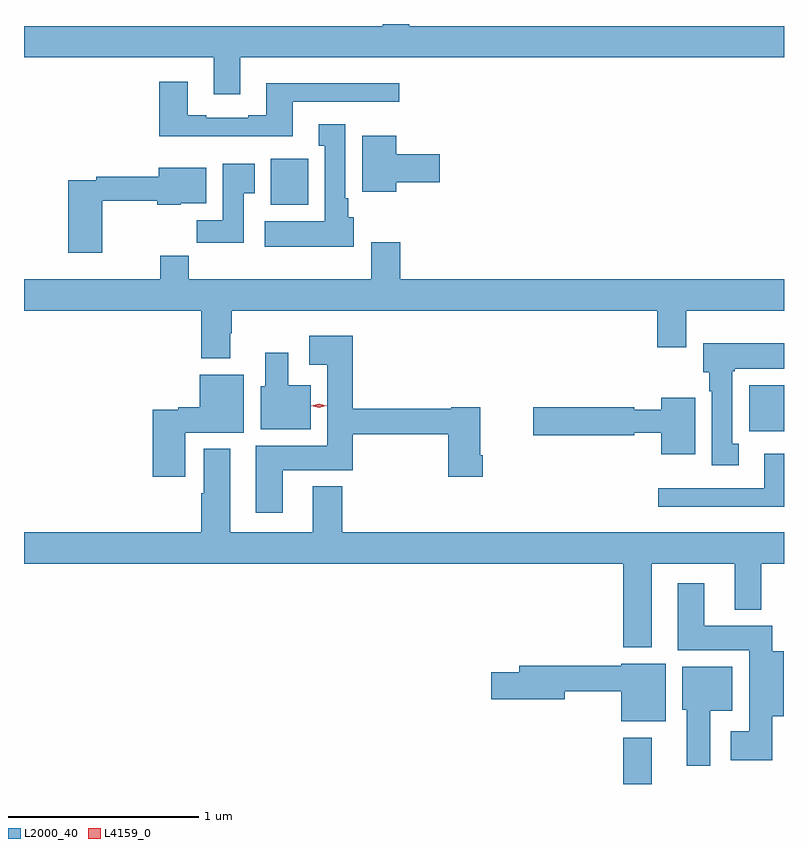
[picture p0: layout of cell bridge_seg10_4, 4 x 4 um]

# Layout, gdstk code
import gdstk
lib = gdstk.Library(unit=1e-6, precision=1e-09)
def R(c, l, rs):  # rectangles x0, y0, x1, y1
    for r in rs: c.add(gdstk.rectangle(r[:2], r[2:], *l))
def P(c, l, *ps):  # polygons
    for p in ps: c.add(gdstk.Polygon(p, *l))
L2000_40 = (2000, 40)
L4159_0 = (4159, 0)

bridge_seg10_4 = lib.new_cell('bridge_seg10_4')
R(bridge_seg10_4, L2000_40, [(1073.345,1248.54,1073.497,1248.784), (1074.008,1250.396,1074.192,1250.638), (1071.491,1251.59,1071.688,1251.832)])
P(bridge_seg10_4, L2000_40, [(1071.331,1252.364),(1074.192,1252.364),(1074.192,1252.528),(1072.219,1252.528),(1072.219,1252.54),(1072.079,1252.54),(1072.079,1252.528),(1070.192,1252.528),(1070.192,1252.364),(1071.191,1252.364),(1071.191,1252.17),(1071.331,1252.17)],
  [(1071.607,1252.131),(1072.168,1252.131),(1072.168,1252.228),(1071.467,1252.228),(1071.467,1252.06),(1071.371,1252.06),(1071.371,1252.047),(1071.151,1252.047),(1071.151,1252.06),(1071.055,1252.06),(1071.055,1252.237),(1070.903,1252.237),(1070.903,1251.95),(1071.607,1251.95)],
  [(1071.928,1251.522),(1071.898,1251.522),(1071.898,1251.622),(1071.883,1251.622),(1071.883,1252.012),(1071.743,1252.012),(1071.743,1251.899),(1071.776,1251.899),(1071.776,1251.502),(1071.459,1251.502),(1071.459,1251.368),(1071.928,1251.368)],
  [(1072.15,1251.707),(1072.381,1251.707),(1072.381,1251.854),(1072.15,1251.854),(1072.15,1251.952),(1071.971,1251.952),(1071.971,1251.656),(1072.15,1251.656)],
  [(1071.349,1251.649),(1071.406,1251.649),(1071.406,1251.805),(1071.239,1251.805),(1071.239,1251.508),(1071.1,1251.508),(1071.1,1251.39),(1071.349,1251.39)],
  [(1070.604,1251.609),(1070.893,1251.609),(1070.893,1251.59),(1071.018,1251.59),(1071.018,1251.596),(1071.151,1251.596),(1071.151,1251.784),(1070.9,1251.784),(1070.9,1251.737),(1070.572,1251.737),(1070.572,1251.717),(1070.426,1251.717),(1070.426,1251.336),(1070.604,1251.336)],
  [(1071.277,1250.912),(1071.285,1250.912),(1071.285,1251.032),(1073.525,1251.032),(1073.525,1250.838),(1073.677,1250.838),(1073.677,1251.032),(1074.192,1251.032),(1074.192,1251.196),(1072.172,1251.196),(1072.172,1251.391),(1072.019,1251.391),(1072.019,1251.196),(1071.059,1251.196),(1071.059,1251.32),(1070.908,1251.32),(1070.908,1251.196),(1070.192,1251.196),(1070.192,1251.032),(1071.125,1251.032),(1071.125,1250.78),(1071.277,1250.78)],
  [(1071.553,1250.192),(1071.923,1250.192),(1071.923,1250.38),(1072.424,1250.38),(1072.424,1250.157),(1072.607,1250.157),(1072.607,1250.269),(1072.594,1250.269),(1072.594,1250.524),(1072.44,1250.524),(1072.44,1250.516),(1071.923,1250.516),(1071.923,1250.899),(1071.693,1250.899),(1071.693,1250.747),(1071.788,1250.747),(1071.788,1250.32),(1071.413,1250.32),(1071.413,1249.968),(1071.553,1249.968)],
  [(1073.953,1250.33),(1073.92,1250.33),(1073.92,1250.713),(1073.934,1250.713),(1073.934,1250.726),(1074.192,1250.726),(1074.192,1250.86),(1073.768,1250.86),(1073.768,1250.706),(1073.798,1250.706),(1073.798,1250.606),(1073.813,1250.606),(1073.813,1250.217),(1073.953,1250.217)],
  [(1071.7,1250.638),(1071.583,1250.638),(1071.583,1250.809),(1071.461,1250.809),(1071.461,1250.634),(1071.437,1250.634),(1071.437,1250.408),(1071.7,1250.408)],
  [(1071.04,1250.39),(1071.349,1250.39),(1071.349,1250.695),(1071.116,1250.695),(1071.116,1250.522),(1071.003,1250.522),(1071.003,1250.509),(1070.87,1250.509),(1070.87,1250.157),(1071.04,1250.157)],
  [(1073.725,1250.572),(1073.546,1250.572),(1073.546,1250.509),(1073.403,1250.509),(1073.403,1250.522),(1072.872,1250.522),(1072.872,1250.375),(1073.403,1250.375),(1073.403,1250.388),(1073.546,1250.388),(1073.546,1250.276),(1073.725,1250.276)],
  [(1073.497,1249.7),(1073.933,1249.7),(1073.933,1249.457),(1074.073,1249.457),(1074.073,1249.7),(1074.192,1249.7),(1074.192,1249.864),(1071.866,1249.864),(1071.866,1250.107),(1071.713,1250.107),(1071.713,1249.864),(1071.277,1249.864),(1071.277,1250.305),(1071.137,1250.305),(1071.137,1250.069),(1071.125,1250.069),(1071.125,1249.864),(1070.192,1249.864),(1070.192,1249.7),(1073.345,1249.7),(1073.345,1249.259),(1073.497,1249.259)],
  [(1074.192,1250.278),(1074.089,1250.278),(1074.089,1250.097),(1073.529,1250.097),(1073.529,1250),(1074.192,1250)],
  [(1074.13,1248.896),(1074.19,1248.896),(1074.19,1249.24),(1074.13,1249.24),(1074.13,1249.372),(1073.773,1249.372),(1073.773,1249.597),(1073.633,1249.597),(1073.633,1249.244),(1074.008,1249.244),(1074.008,1248.817),(1073.913,1248.817),(1073.913,1248.665),(1074.13,1248.665)],
  [(1073.569,1249.174),(1073.336,1249.174),(1073.336,1249.163),(1072.799,1249.163),(1072.799,1249.127),(1072.65,1249.127),(1072.65,1248.985),(1073.038,1248.985),(1073.038,1249.027),(1073.336,1249.027),(1073.336,1248.869),(1073.569,1248.869)],
  [(1073.803,1248.926),(1073.92,1248.926),(1073.92,1249.156),(1073.657,1249.156),(1073.657,1248.93),(1073.681,1248.93),(1073.681,1248.636),(1073.803,1248.636)])
P(bridge_seg10_4, L4159_0, [(1071.745,1250.521),(1071.705,1250.53),(1071.705,1250.531),(1071.705,1250.531),(1071.745,1250.541),(1071.784,1250.531),(1071.785,1250.531),(1071.784,1250.531)])

lib.write_gds('bridge_seg10_4.gds')
